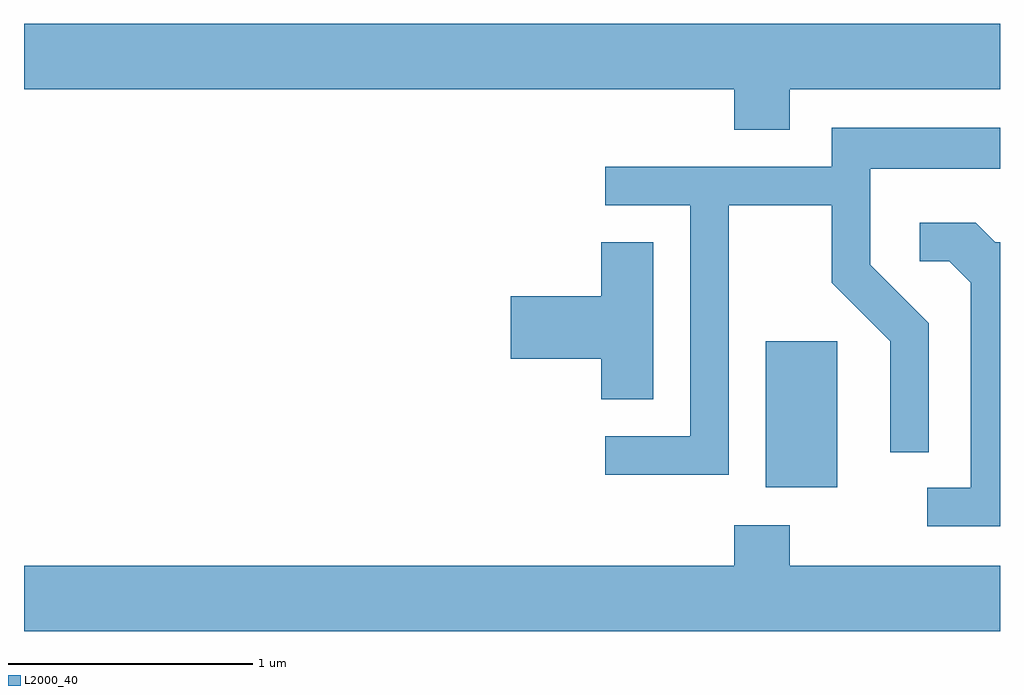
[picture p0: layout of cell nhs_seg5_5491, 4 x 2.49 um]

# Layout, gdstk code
import gdstk
lib = gdstk.Library(unit=1e-6, precision=1e-09)
def R(c, l, rs):  # rectangles x0, y0, x1, y1
    for r in rs: c.add(gdstk.rectangle(r[:2], r[2:], *l))
def P(c, l, *ps):  # polygons
    for p in ps: c.add(gdstk.Polygon(p, *l))
L2000_40 = (2000, 40)

nhs_seg5_5491 = lib.new_cell('nhs_seg5_5491')
R(nhs_seg5_5491, L2000_40, [(350.651,1477.366,350.944,1477.964)])
P(nhs_seg5_5491, L2000_40, [(350.749,1478.996),(351.611,1478.996),(351.611,1479.264),(347.611,1479.264),(347.611,1478.996),(350.521,1478.996),(350.521,1478.831),(350.749,1478.831)],
  [(350.499,1478.521),(350.921,1478.521),(350.921,1478.204),(351.161,1477.964),(351.161,1477.508),(351.319,1477.508),(351.319,1478.037),(351.079,1478.277),(351.079,1478.671),(351.611,1478.671),(351.611,1478.839),(350.921,1478.839),(350.921,1478.679),(349.993,1478.679),(349.993,1478.521),(350.341,1478.521),(350.341,1477.574),(349.993,1477.574),(349.993,1477.416),(350.499,1477.416)],
  [(351.611,1478.369),(351.592,1478.369),(351.512,1478.449),(351.283,1478.449),(351.283,1478.291),(351.404,1478.291),(351.491,1478.204),(351.491,1477.364),(351.313,1477.364),(351.313,1477.206),(351.611,1477.206)],
  [(350.189,1478.369),(349.976,1478.369),(349.976,1478.149),(349.606,1478.149),(349.606,1477.891),(349.976,1477.891),(349.976,1477.726),(350.189,1477.726)],
  [(351.611,1477.044),(350.749,1477.044),(350.749,1477.209),(350.521,1477.209),(350.521,1477.044),(347.611,1477.044),(347.611,1476.776),(351.611,1476.776)])

lib.write_gds('nhs_seg5_5491.gds')
